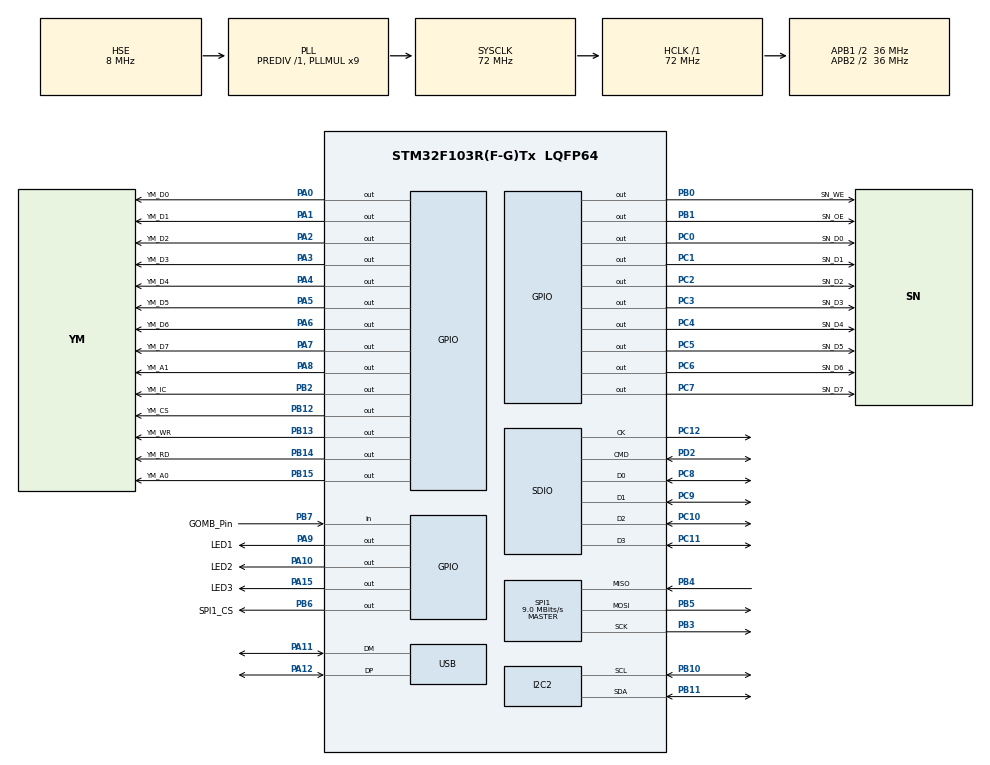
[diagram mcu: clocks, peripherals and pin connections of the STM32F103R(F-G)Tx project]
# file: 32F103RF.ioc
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FATFS._MAX_SS=4096
FATFS._USE_LFN=1
I2C2.I2C_Mode=I2C_Fast
Mcu.Family=STM32F1
Mcu.Name=STM32F103R(F-G)Tx
Mcu.Package=LQFP64
NVIC.PriorityGroup=NVIC_PRIORITYGROUP_4
NVIC.TIM6_IRQn=true\:0\:0\:false\:false\:true\:true\:true
NVIC.USB_LP_CAN1_RX0_IRQn=true\:0\:0\:false\:false\:true\:false\:true
PA0-WKUP.GPIO_Label=YM_D0
PA0-WKUP.Signal=GPIO_Output
PA1.GPIO_Label=YM_D1
PA1.Signal=GPIO_Output
PA10.GPIO_Label=LED2
PA10.Signal=GPIO_Output
PA11.Mode=Device
PA11.Signal=USB_DM
PA12.Mode=Device
PA12.Signal=USB_DP
PA13.Mode=Serial_Wire
PA13.Signal=SYS_JTMS-SWDIO
PA14.Mode=Serial_Wire
PA14.Signal=SYS_JTCK-SWCLK
PA15.GPIO_Label=LED3
PA15.Signal=GPIO_Output
PA2.GPIO_Label=YM_D2
PA2.Signal=GPIO_Output
PA3.GPIO_Label=YM_D3
PA3.Signal=GPIO_Output
PA4.GPIO_Label=YM_D4
PA4.Signal=GPIO_Output
PA5.GPIO_Label=YM_D5
PA5.PinState=GPIO_PIN_RESET
PA5.Signal=GPIO_Output
PA6.GPIO_Label=YM_D6
PA6.Signal=GPIO_Output
PA7.GPIO_Label=YM_D7
PA7.Signal=GPIO_Output
PA8.GPIO_Label=YM_A1
PA8.PinState=GPIO_PIN_RESET
PA8.Signal=GPIO_Output
PA9.GPIO_Label=LED1
PA9.Signal=GPIO_Output
PB0.GPIO_Label=SN_WE
PB0.PinState=GPIO_PIN_SET
PB0.Signal=GPIO_Output
PB1.GPIO_Label=SN_OE
PB1.PinState=GPIO_PIN_RESET
PB1.Signal=GPIO_Output
PB10.Mode=I2C
PB10.Signal=I2C2_SCL
PB11.Mode=I2C
PB11.Signal=I2C2_SDA
PB12.GPIO_Label=YM_CS
PB12.PinState=GPIO_PIN_SET
PB12.Signal=GPIO_Output
PB13.GPIO_Label=YM_WR
PB13.PinState=GPIO_PIN_SET
PB13.Signal=GPIO_Output
PB14.GPIO_Label=YM_RD
PB14.PinState=GPIO_PIN_SET
PB14.Signal=GPIO_Output
PB15.GPIO_Label=YM_A0
PB15.PinState=GPIO_PIN_SET
PB15.Signal=GPIO_Output
PB2.GPIO_Label=YM_IC
PB2.PinState=GPIO_PIN_SET
PB2.Signal=GPIO_Output
PB3.Mode=Full_Duplex_Master
PB3.Signal=SPI1_SCK
PB4.Mode=Full_Duplex_Master
PB4.Signal=SPI1_MISO
PB5.Mode=Full_Duplex_Master
PB5.Signal=SPI1_MOSI
PB6.GPIO_Label=SPI1_CS
PB6.PinState=GPIO_PIN_SET
PB6.Signal=GPIO_Output
PB7.GPIO_Label=GOMB_Pin
PB7.Signal=GPIO_Input
PC0.GPIO_Label=SN_D0
PC0.Signal=GPIO_Output
PC1.GPIO_Label=SN_D1
PC1.Signal=GPIO_Output
PC10.Mode=SD_4_bits_Wide_bus
PC10.Signal=SDIO_D2
PC11.Mode=SD_4_bits_Wide_bus
PC11.Signal=SDIO_D3
PC12.Mode=SD_4_bits_Wide_bus
PC12.Signal=SDIO_CK
PC2.GPIO_Label=SN_D2
PC2.Signal=GPIO_Output
PC3.GPIO_Label=SN_D3
PC3.Signal=GPIO_Output
PC4.GPIO_Label=SN_D4
PC4.Signal=GPIO_Output
PC5.GPIO_Label=SN_D5
PC5.Signal=GPIO_Output
PC6.GPIO_Label=SN_D6
PC6.Signal=GPIO_Output
PC7.GPIO_Label=SN_D7
PC7.Signal=GPIO_Output
PC8.Mode=SD_4_bits_Wide_bus
PC8.Signal=SDIO_D0
PC9.Mode=SD_4_bits_Wide_bus
PC9.Signal=SDIO_D1
PD0-OSC_IN.Mode=HSE-External-Oscillator
PD0-OSC_IN.Signal=RCC_OSC_IN
PD1-OSC_OUT.Mode=HSE-External-Oscillator
PD1-OSC_OUT.Signal=RCC_OSC_OUT
PD2.Mode=SD_4_bits_Wide_bus
PD2.Signal=SDIO_CMD
ProjectManager.HeapSize=0x200
ProjectManager.StackSize=0x400
ProjectManager.TargetToolchain=TrueSTUDIO
RCC.AHBFreq_Value=72000000
RCC.APB1CLKDivider=RCC_HCLK_DIV2
RCC.APB1Freq_Value=36000000
RCC.APB1TimFreq_Value=72000000
RCC.APB2CLKDivider=RCC_HCLK_DIV2
RCC.APB2Freq_Value=36000000
RCC.APB2TimFreq_Value=72000000
RCC.HCLKFreq_Value=72000000
RCC.PLLMUL=RCC_PLL_MUL9
RCC.SYSCLKFreq_VALUE=72000000
RCC.SYSCLKSource=RCC_SYSCLKSOURCE_PLLCLK
RCC.USBFreq_Value=48000000
RCC.USBPrescaler=RCC_USBCLKSOURCE_PLL_DIV1_5
SDIO.ClockDiv=4
SPI1.BaudRatePrescaler=SPI_BAUDRATEPRESCALER_4
SPI1.CalculateBaudRate=9.0 MBits/s
SPI1.Direction=SPI_DIRECTION_2LINES
SPI1.Mode=SPI_MODE_MASTER
SPI1.VirtualType=VM_MASTER
TIM6.Period=816
TIM6.Prescaler=1
TIM6.TIM_MasterOutputTrigger=TIM_TRGO_RESET
USB_DEVICE.APP_RX_DATA_SIZE=256
USB_DEVICE.APP_TX_DATA_SIZE=256
USB_DEVICE.CLASS_NAME_FS=CDC
USB_DEVICE.VirtualMode=Cdc
USB_DEVICE.VirtualModeFS=Cdc_FS
VP_FATFS_VS_SDIO.Mode=SDIO
VP_TIM6_VS_ClockSourceINT.Mode=Enable_Timer
VP_USB_DEVICE_VS_USB_DEVICE_CDC_FS.Mode=CDC_FS
board=custom

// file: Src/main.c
/* USER CODE BEGIN Header */
/**
  ******************************************************************************
  * STM VGM Player 2023-01-17
  *
  * Tóth Péter - don_peter@freemail.hu
  * DPTP System
  *
  * Microcontroller : 	STM32F103RFT6
  * Frequency : 		72MHz
  * Flash : 			768KB
  * RAM : 				96KB
  * Vendor : 			Generic
  *
  *                             www.neo-geo.hu
  *
  ******************************************************************************
  */
/* USER CODE END Header */

#include "main.h"
#include "fatfs.h"
#include "usb_device.h"

/* USER CODE BEGIN Includes */
#include "dwt_stm32_delay.h"
#include "w25qxx.h"
#include "usbd_cdc_if.h"
#include "ym2612.h"

//#include "fatfs_sd.h"

#include "fonts.h"
#include "ssd1306.h"

//#include "flash.h"
/* USER CODE END Includes */

/* USER CODE BEGIN PD */
#define BufferArraySize 64
//#define PCMJump
/* USER CODE END PD */

I2C_HandleTypeDef hi2c2;

SD_HandleTypeDef hsd;

SPI_HandleTypeDef hspi1;

TIM_HandleTypeDef htim6;

/* USER CODE BEGIN PV */
uint8_t BuffRX_a[BufferArraySize];
uint8_t BuffRX_b[BufferArraySize];
volatile uint32_t DataSize;
volatile uint16_t BufferI;
volatile uint16_t BufferSize;
volatile uint8_t bUffEr = 1;
volatile uint16_t PackCount=0;
volatile unsigned int waitSamples = 0;
volatile uint8_t SampleNext = 1;
volatile uint8_t PCMLoad;

FATFS FatFs;
FIL MyFile;      // file objects
BYTE buffer[512]; // file copy buffer
FRESULT res;         // FatFs function common result code
UINT br, bw;         // File R/W count
UINT bytes_written;
DIR dirs;
FILINFO finfo;
char path[16]={""};
//FRESULT fresult;

/* USER CODE END PV */

void SystemClock_Config(void);
static void MX_GPIO_Init(void);
static void MX_SPI1_Init(void);
static void MX_I2C2_Init(void);
static void MX_SDIO_SD_Init(void);
static void MX_TIM6_Init(void);
/* USER CODE BEGIN PFP */
struct VGMStreamHeader {
	// StreamInit 0x90
	uint8_t StreamID;	// Stream ID lekérése, nem kell ( 0x00 )
	uint8_t ChipType;	// Chip típusa, nem kell
	uint8_t PCMPort;	// Port	( 0x00 )
	uint8_t PCMCMD;		// Parancs mentése ( 0x2A )

	// StreamData 0x91
	uint8_t DataBankID;	// Data Bank ID (nincs tömörítve) ( 0x00 )
	uint8_t StepSize;	// Lépésméret, hány adatot hagyjon ki minden írás után (álltalában 1-et)
	uint8_t DataShift;	// Adat eltolás hozzáadva a start offset-hez

	// StreamFreq 0x92
	uint32_t Freq;		// Frekencia 4 byte

	// StreamStart 0x93
	uint32_t DataStartOffset;	// Data Start offset 4byte
	uint8_t LenghtMode;			// Length Mode
	uint32_t DataLength;		// Data Length 4 byte
	uint32_t PCMStartAdr;		// PCM adat kezdõ címe
};
volatile struct VGMStreamHeader VGMStream;
/* USER CODE END PFP */

/* USER CODE BEGIN 0 */
/********************************************************************************
 * - 2023-01-20
 * Timer6 407-es elõtöltéssel 22.67uS / megzsakítás szkóppal kimérve.
 * A 22.67uS idõ még mindig nem elégséges, bár ez lehet már csak optimalizálás
 * kérdése, de 23-24uS ideig tart egy PCM-et nem tartalmazó VGM adafolyam lejátszása.
 * Továbbá ebben a megszakítási idõben, legalább kétszeres a lejátszási sebesség, ezért
 * 22.67uS-rõl 45.34uS idõzítésre állítom, így a VGM zene a normális tempóban játsza le.
 * Ebben az új 816-os beállíátás mellet vagy is a 45.34uS megszakítássba viszonylag
 * stabil 46-47uS / megszakítással folyamatos PCM adat nélkül a lejátszás. Fõprogram
 * ebben az esetben 5-20mS közt elérhetõ.
 * Egy kisebb PCM-et tartalmazó fájl esetén 45-90uS-re nõt a megszakítások ideje
 * ez még ugyan memória olvasással mért adat.
 * Buffert alkalmazva kisebb PCM adat folyammal is viszonylag stabil 45-48uS alatt történik
 * a megszakítás kiszolgálása, ami majdnem teljesen bele fér az alap 45.34uS megszakításba.
 */
/* USER CODE END 0 */

int main(void)
{
  /* USER CODE BEGIN 1 */
	char CMDTX[1];

	uint16_t i = 0;
	uint8_t EraseBlock = 0;
	uint32_t DataSizePC = 0;
	uint16_t Maradek=0, Pack=0;
	uint8_t Upload;
	uint16_t temp = 0;
	PCMLoad = 0;
	uint8_t StrTemp[19] = {0};
	uint8_t Khz = 44;
	uint32_t FSize = 0;

	/*unsigned long pcmBufferPositionStart = 0;
	unsigned int PCMDataSize = 0;
	unsigned int wait = 0;
	unsigned char Sample = 0;
	unsigned char YM_address = 0;
	unsigned char YM_data = 0;

	const float sampleRate = 44100; //0.00002676
	const float WAIT60TH = 1000 / (sampleRate/735);
	const float WAIT50TH = 1000 / (sampleRate/882);
	float cachedWaitTime = 0;
	unsigned char Sample = 0;*/
  /* USER CODE END 1 */

  /* MCU Configuration--------------------------------------------------------*/

  /* Reset of all peripherals, Initializes the Flash interface and the Systick. */
  HAL_Init();

  /* Configure the system clock */
  SystemClock_Config();

  /* Initialize all configured peripherals */
  MX_GPIO_Init();
  MX_SPI1_Init();
  MX_USB_DEVICE_Init();
  MX_I2C2_Init();
  MX_SDIO_SD_Init();
  MX_TIM6_Init();
  MX_FATFS_Init();
  /* USER CODE BEGIN 2 */
  DWT_Delay_Init();
  SSD1306_Init();
  /* USER CODE END 2 */

  /* Infinite loop */
  /* USER CODE BEGIN WHILE */

  PSG_Silence();
  //MemErase();

#ifdef PCMJump
  MemCim.value = 63;
  PCMJumpSave();
#endif

	/*MemCim.value = 0;
	for(int t=0; t<100; ++t)
	{
		temp = memReadID();
		Sample = MemRead(MemCim);
		MemCim.value++;
	}*/

  /*for(;;)	// Lefutás ideje, szkóppal mérve: 45uS/2=22.5uS
  {
    HAL_GPIO_TogglePin(LED2_GPIO_Port, LED2_Pin);
    if(!(GOMB_Pin_GPIO_Port->IDR & GOMB_Pin_Pin))
    	  {
    		  i=0;
    		  while(!(GOMB_Pin_GPIO_Port->IDR & GOMB_Pin_Pin));
    		  HAL_RCC_DeInit();
    		  HAL_Delay(100);
    		  SystemClock_Config_128MHz();
    		  HAL_Delay(100);
    	  }
    //DWT_Delay_us(22);
  }*/
  	// Kezdõ képernyõ
  	SSD1306_GotoXY (0,0);
	SSD1306_Puts ("DPTP System - 2023 ", &Font_7x10, 1);
	SSD1306_GotoXY (0,9);
	SSD1306_Puts ("VGM Player v3.0 ", &Font_7x10, 1);
	SSD1306_GotoXY (0,20);
	SSD1306_Puts ("System Ready ", &Font_7x10, 1);
	SSD1306_UpdateScreen();
	HAL_Delay(2000);

	/*SSD1306_ScrollRight(0,7);
	HAL_Delay(3000);
	SSD1306_ScrollLeft(1,7);
	HAL_Delay(3000);
	SSD1306_Stopscroll();
	//SSD1306_Clear();*/

  /*MemCim.value = 64;
  if(MemRead(MemCim) == 0x52 || MemRead(MemCim) == 0x67)
  {
	  MemCim.value = 63;
	  HAL_TIM_Base_Start_IT(&htim6);
  }
  else
	  MemCim.value = 128;

  if(MemRead(MemCim) == 0x52 || MemRead(MemCim) == 0x67)
  {
  	  MemCim.value = 127;
  	  HAL_TIM_Base_Start_IT(&htim6);
    }*/
	// Listázó (file)
	unsigned char FCount = 0, FCount2 = 0;
	BYTE FileName[200][32] = {0};
	BYTE FileSortName[200][12] = {0};
	char FnameCharCount = 0;

	#if _USE_LFN
		static char lfn[_MAX_LFN + 1];
		finfo.lfname = lfn;
		finfo.lfsize = sizeof lfn;
	#endif
	if (f_mount(&FatFs,"/",(BYTE)1) == FR_OK)
	{
	   //f_mount(&FatFs[0],"/",(BYTE)1);
	   if (f_opendir(&dirs, path) == FR_OK)
	   {
		 while (f_readdir(&dirs, &finfo) == FR_OK)
		 {
		   if (finfo.fattrib & AM_ARC)
		   {
			 if(!finfo.fname[0]) break;
			 FnameCharCount = strlen(finfo.lfname) > 32 ? 32 : strlen(finfo.lfname);
			 //finfo.fname
			 if(FnameCharCount>1)
			 {
				 memcpy(FileName[FCount++], finfo.lfname, FnameCharCount+1);
				 memcpy(FileSortName[FCount2++], finfo.fname, strlen(finfo.fname)+1);
			 }
			 else
			 {
				 memcpy(FileName[FCount++], finfo.fname, strlen(finfo.fname)+1);
				 memcpy(FileSortName[FCount2++], finfo.fname, strlen(finfo.fname)+1);
			 }	//finfo.lfname
			 // Fájl méretének megadása (3byte)
			 FileName[FCount-1][29] = finfo.fsize>>16;
			 FileName[FCount-1][30] = finfo.fsize>>8;
			 FileName[FCount-1][31] = finfo.fsize;
			 f_close(&MyFile);
		   }
		 }
	   }
	   FCount=0;
	   //FCount2=0;
	}
	else
	{
		// Hiba
		HAL_GPIO_WritePin(LED3_GPIO_Port, LED3_Pin, SET);
	}

	// Timer2 - 44.1KHz
	// Ellenõrizük, hogy adott VGM fájl hol kezdõdik, 0x40 vagy 0x80-nál
	MemCim.value = 8;
	VGMVersion = MemRead(MemCim);
	MemCim.value++;
	VGMVersion |= ((uint16_t)MemRead(MemCim))<<8;
	if(VGMVersion==0x151)
	{
	  MemCim.value = 127;
	  HAL_TIM_Base_Start_IT(&htim6);
	}
	else
	{
	  MemCim.value = 63;
	  HAL_TIM_Base_Start_IT(&htim6);
	}

  while (1)	// 1uS
  {
	  // Gomb kezelése
	  if(!(GOMB_Pin_GPIO_Port->IDR & GOMB_Pin_Pin))
	  {
		  HAL_TIM_Base_Stop_IT(&htim6);
		  i=0;
		  while(!(GOMB_Pin_GPIO_Port->IDR & GOMB_Pin_Pin))
		  {
			  SSD1306_GotoXY (0,0);
			  SSD1306_Puts ("                   ", &Font_7x10, 1);
			  SSD1306_GotoXY (0,0);
			  if(i<=10)
			  {
				  SSD1306_Puts ("File step..", &Font_7x10, 1);
			  }
			  else if(i>10 && i<=30)
			  {
				  sprintf(StrTemp, "Step KHz: %02iKHz", Khz);
				  SSD1306_Puts (StrTemp, &Font_7x10, 1);
			  }
			  else if(i>30 && i<=40)
			  {
				  sprintf(StrTemp, "Step freq. %03iMHz", (uint32_t)HAL_RCC_GetHCLKFreq()/1000000);
				  SSD1306_Puts (StrTemp, &Font_7x10, 1);
			  }
			  else if(i>40)
			  {
				  SSD1306_Puts ("File upload!", &Font_7x10, 1);
			  }
			  SSD1306_UpdateScreen();
			  HAL_Delay(100);
			  i++;

			  if(i>80) i=0;
		  }
			SSD1306_GotoXY (0,0);
			SSD1306_Puts ("VGM Player v3.0 ", &Font_7x10, 1);
			SSD1306_GotoXY (0,20);
			SSD1306_Puts ("System Ready ", &Font_7x10, 1);
			SSD1306_UpdateScreen();
		  HAL_GPIO_WritePin(LED3_GPIO_Port, LED3_Pin, RESET);

		  if(i>30 && i<=40)	// 3-4s
		  {
			if((uint32_t)HAL_RCC_GetHCLKFreq() < 128000000)
			{
				HAL_RCC_DeInit();
				HAL_Delay(100);
				SystemClock_Config_128MHz();
			}
			else
			{
				HAL_RCC_DeInit();
				HAL_Delay(100);
				SystemClock_Config();
			}
			HAL_Delay(100);
		  }
		  else if(i>10 && i<=30) // Ha 2 és 3 másodpercet nyomtuk
		  {
			if((uint32_t)HAL_RCC_GetHCLKFreq() > 72000000)
			{
				if(htim6.Init.Period!=666)
				{
					htim6.Init.Period = 666;	// 48KHz
					HAL_GPIO_WritePin(LED3_GPIO_Port, LED3_Pin, SET);
					Khz = 48;
				}
				else
				{
					htim6.Init.Period = 725; // Alapértelmezett 44.1KHz
					HAL_GPIO_WritePin(LED3_GPIO_Port, LED3_Pin, RESET);
					Khz = 44;
				}
			}
			else
			{
				if(htim6.Init.Period!=749)
				{
					htim6.Init.Period = 749;	// 48KHz
					HAL_GPIO_WritePin(LED3_GPIO_Port, LED3_Pin, SET);
					Khz = 48;
				}
				else
				{
					htim6.Init.Period = 816; // Alapértelmezett 44.1KHz
					HAL_GPIO_WritePin(LED3_GPIO_Port, LED3_Pin, RESET);
					Khz = 44;
				}
			}

			HAL_TIM_Base_Init(&htim6);
		  }

		  if(i<=10)
		  {
				//SSD1306_Clear();
			  if(FCount>FCount2) FCount = 0;
				SSD1306_GotoXY (0,9);
				SSD1306_Puts ("                   ", &Font_7x10, 1);
				SSD1306_GotoXY (0,9);
				SSD1306_Puts (FileName[FCount++], &Font_7x10, 1);
				//SSD1306_ScrollRight(1,1);
				SSD1306_UpdateScreen();
			}
		  else if(i>10 && i<=40) // 3-4s
		  {
			//SSD1306_Clear();
			SSD1306_GotoXY (0,0);
			sprintf(StrTemp, "CP: %03iMHz F: %02iKHz", (uint32_t)HAL_RCC_GetHCLKFreq()/1000000, Khz);
			SSD1306_Puts (StrTemp, &Font_7x10, 1);
			SSD1306_UpdateScreen();
		  }
		  else if(i>=40)	// -5s
		  {
			  PSG_Silence();
			  // MD program beírása ROM-ba
				f_mount(&FatFs,"/",(BYTE)1);
				res = f_open(&MyFile, FileName[FCount-1], FA_OPEN_EXISTING | FA_READ);
				memset(buffer, '\0', sizeof(buffer));
				FSize = MyFile.fsize;
				if(res==FR_OK){
					// Flash törlése
					EraseBlock = (FSize/0xFFFF)>0 ? ((FSize/0xFFFF)+1) : 1;
					MemCim.value = 0;
					for(i=0; i<=EraseBlock; ++i)
					{
						MemBlockErase64Kb(MemCim);
						MemCim.value += 0xFFFF;
					}
					MemCim.value = 0;
				}
				do{
				  res = f_read(&MyFile, buffer, sizeof(buffer), &br);
				  for(i=0; i<(br/BufferArraySize); i++){
					//FSMC_NOR_WriteHalfWord(SramAddr, buffer[i]);
					  //memcpy(BuffRX_a, buffer[i*BufferArraySize], BufferArraySize);
					  for(int s=0; s<BufferArraySize; s++) BuffRX_a[s] = buffer[(i*BufferArraySize)+s];
					  memWriteW25Qxx(MemCim, BuffRX_a);
					  memset(BuffRX_a, '\0', sizeof(BuffRX_a));
					  MemCim.value+=64;
				  }
				  FSize -= br;

					SSD1306_GotoXY (0,20);
					SSD1306_Puts ("                   ", &Font_7x10, 1);
					SSD1306_GotoXY (0,20);
					sprintf(StrTemp, "FSize:%06ibyte", FSize);
					SSD1306_Puts (StrTemp, &Font_7x10, 1);
					SSD1306_UpdateScreen();

				  HAL_GPIO_TogglePin(LED1_GPIO_Port, LED1_Pin);
				}while(FSize && res == FR_OK);
				f_close(&MyFile);
				HAL_GPIO_WritePin(LED1_GPIO_Port, LED1_Pin, RESET);
				MemCim.value = 8;
				VGMVersion = MemRead(MemCim);
				MemCim.value++;
				VGMVersion |= ((uint16_t)MemRead(MemCim))<<8;
				if(VGMVersion==0x151) MemCim.value = 127;
				else MemCim.value = 63;

				SSD1306_GotoXY (0,20);
				SSD1306_Puts ("                   ", &Font_7x10, 1);
				SSD1306_GotoXY (0,20);
				SSD1306_Puts ("Upload success!", &Font_7x10, 1);
				SSD1306_UpdateScreen();
		  }

		  HAL_TIM_Base_Start_IT(&htim6);
	  }

	  if(BuffRX_a[0] == 'd') {
		HAL_TIM_Base_Stop_IT(&htim6);
		BuffRX_a[0] = '\0';

		PSG_Silence();

		DataSize = 0;
		BufferSize = 0;
		BufferI=0;

		HAL_Delay(1);
		CMDTX[0] = 0x10;
		CDC_Transmit_FS((uint8_t *)CMDTX, 1);	// Kiküldjük az OK visszajelzést az upload kódot

		while(DataSize<3);	// Amig nem jön meg a 3 adat
		// PC-s adat hossza
		DataSizePC = BuffRX_a[2];
		DataSizePC = DataSizePC<<8 | BuffRX_a[1];
		DataSizePC = DataSizePC<<8 | BuffRX_a[0];
		Maradek = DataSizePC%BufferArraySize;	// Hossz vége, ha nem pontosan egyelõ BufferArraySize
		Pack = DataSizePC/BufferArraySize;		// Adat csomagok száma

		memset(BuffRX_a, '\0', sizeof(BuffRX_a));	//Törõljük a buffer tartalmát
		memset(BuffRX_b, '\0', sizeof(BuffRX_b));	//Törõljük a buffer tartalmát
		Upload=1;
		bUffEr=1;
		DataSize = 0;
		BufferSize = 0;
		BufferI=0;
		PackCount=0;
		MemCim.value = 0;

		EraseBlock = (DataSizePC/0xFFFF)>0 ? ((DataSizePC/0xFFFF)+1) : 1;

		//CMDTX[0] = EraseBlock;
		//CDC_Transmit_FS((uint8_t *)CMDTX, 1;

		for(i=0; i<=EraseBlock; ++i)
		{
			MemBlockErase64Kb(MemCim);
			MemCim.value += 0xFFFF;
		}

		MemCim.value = 0;

		CMDTX[0] = 0xF0;
		CDC_Transmit_FS((uint8_t *)CMDTX, 1);

		DataSize = 0;

		while(Upload){

			if(BufferSize==BufferArraySize || (PackCount == Pack && Maradek == BufferSize)){		// Ha minden rendben van

				if((PackCount == Pack && Maradek == BufferSize))
				{
					temp = Maradek;
					DataSize -= BufferArraySize;
					//DataSize += temp;
				}
				else
				{
					temp = BufferArraySize;
				}
				// Beírjuk az új adatokat a memóriába

				////// Két buffer töltésének írányítása, szervezése /////
				bUffEr = !bUffEr;
				BufferSize=0;
				BufferI=0;

				if(PackCount<=Pack){
					CMDTX[0] = 0x02;
					CDC_Transmit_FS((uint8_t *)CMDTX, 1); //strlen(CMDTX)-1);	// kiküldjük a tovább kódot
				}
				PackCount++;

				if(!bUffEr){
					memWriteW25Qxx(MemCim, BuffRX_a);
				}else{
					memWriteW25Qxx(MemCim, BuffRX_b);
				}

				// Adat kiírása AddresCounter,
				MemCim.value += temp;
				//DataSizePC == DataSize &&
				if(DataSizePC == DataSize && PackCount >= Pack)
				{
					Upload = 0;
					bUffEr = 1; 				// Alapértelmezett buffer használata
					BufferSize=0;
					BufferI=0;
					CMDTX[0] = 0x02;
					CDC_Transmit_FS((uint8_t *)CMDTX, 1);//strlen(CMDTX)-1);	// kiküldjuk a tovább kódot

					MemCim.value = 0;
					memset(BuffRX_a, '\0', sizeof(BuffRX_a));	//Törõljük a buffer tartalmát
					memset(BuffRX_b, '\0', sizeof(BuffRX_b));	//Törõljük a buffer tartalmát
				}// Kilépünk írásmódból
				HAL_GPIO_TogglePin(LED2_GPIO_Port, LED2_Pin);
			}

		}//while
		// Ellenõrizük, hogy adott VGM fájl hol kezdõdik, 0x40 vagy 0x80-nál
		MemCim.value = 8;
		VGMVersion = MemRead(MemCim);
		MemCim.value++;
		VGMVersion |= ((uint16_t)MemRead(MemCim))<<8;
		if(VGMVersion==0x151) MemCim.value = 127;
		else MemCim.value = 63;

#ifdef PCMJump
		// Ugró tábla
		memset(JumpTableE0, '\0', sizeof(JumpTableE0));
		PCMJumpSave();
		MemCim.value = 63;
#endif

		//Reset();
		//EepromWrite(0x00);
		PCMLoad = 0;
		HAL_GPIO_WritePin(LED2_GPIO_Port, LED2_Pin, RESET);
		i=0;

		HAL_TIM_Base_Start_IT(&htim6);
	}

	  // 1uS idõ alatt ér ide a program
	  HAL_GPIO_TogglePin(LED1_GPIO_Port, LED1_Pin);
	  HAL_Delay(100);

    /* USER CODE END WHILE */

  }
}

void SystemClock_Config(void)
{
  RCC_OscInitTypeDef RCC_OscInitStruct = {0};
  RCC_ClkInitTypeDef RCC_ClkInitStruct = {0};
  RCC_PeriphCLKInitTypeDef PeriphClkInit = {0};

  /** Initializes the CPU, AHB and APB busses clocks
  */
  RCC_OscInitStruct.OscillatorType = RCC_OSCILLATORTYPE_HSE;
  RCC_OscInitStruct.HSEState = RCC_HSE_ON;
  RCC_OscInitStruct.HSEPredivValue = RCC_HSE_PREDIV_DIV1;
  RCC_OscInitStruct.HSIState = RCC_HSI_ON;
  RCC_OscInitStruct.PLL.PLLState = RCC_PLL_ON;
  RCC_OscInitStruct.PLL.PLLSource = RCC_PLLSOURCE_HSE;
  RCC_OscInitStruct.PLL.PLLMUL = RCC_PLL_MUL9;
  if (HAL_RCC_OscConfig(&RCC_OscInitStruct) != HAL_OK)
  {
    Error_Handler();
  }
  /** Initializes the CPU, AHB and APB busses clocks
  */
  RCC_ClkInitStruct.ClockType = RCC_CLOCKTYPE_HCLK|RCC_CLOCKTYPE_SYSCLK
                              |RCC_CLOCKTYPE_PCLK1|RCC_CLOCKTYPE_PCLK2;
  RCC_ClkInitStruct.SYSCLKSource = RCC_SYSCLKSOURCE_PLLCLK;
  RCC_ClkInitStruct.AHBCLKDivider = RCC_SYSCLK_DIV1;
  RCC_ClkInitStruct.APB1CLKDivider = RCC_HCLK_DIV2;
  RCC_ClkInitStruct.APB2CLKDivider = RCC_HCLK_DIV2;

  if (HAL_RCC_ClockConfig(&RCC_ClkInitStruct, FLASH_LATENCY_2) != HAL_OK)
  {
    Error_Handler();
  }
  PeriphClkInit.PeriphClockSelection = RCC_PERIPHCLK_USB;
  PeriphClkInit.UsbClockSelection = RCC_USBCLKSOURCE_PLL_DIV1_5;
  if (HAL_RCCEx_PeriphCLKConfig(&PeriphClkInit) != HAL_OK)
  {
    Error_Handler();
  }
}

static void MX_I2C2_Init(void)
{

  hi2c2.Instance = I2C2;
  hi2c2.Init.ClockSpeed = 400000;
  hi2c2.Init.DutyCycle = I2C_DUTYCYCLE_2;
  hi2c2.Init.OwnAddress1 = 0;
  hi2c2.Init.AddressingMode = I2C_ADDRESSINGMODE_7BIT;
  hi2c2.Init.DualAddressMode = I2C_DUALADDRESS_DISABLE;
  hi2c2.Init.OwnAddress2 = 0;
  hi2c2.Init.GeneralCallMode = I2C_GENERALCALL_DISABLE;
  hi2c2.Init.NoStretchMode = I2C_NOSTRETCH_DISABLE;
  if (HAL_I2C_Init(&hi2c2) != HAL_OK)
  {
    Error_Handler();
  }

}

static void MX_SDIO_SD_Init(void)
{

  hsd.Instance = SDIO;
  hsd.Init.ClockEdge = SDIO_CLOCK_EDGE_RISING;
  hsd.Init.ClockBypass = SDIO_CLOCK_BYPASS_DISABLE;
  hsd.Init.ClockPowerSave = SDIO_CLOCK_POWER_SAVE_DISABLE;
  hsd.Init.BusWide = SDIO_BUS_WIDE_1B;
  hsd.Init.HardwareFlowControl = SDIO_HARDWARE_FLOW_CONTROL_DISABLE;
  hsd.Init.ClockDiv = 4;
  /* USER CODE BEGIN SDIO_Init 2 */
  // Ha az SD kezelése FR_DISK_ERROR-ra futna, akkor a hsd.Init.ClockDiv-nt növelni kell.
  /* USER CODE END SDIO_Init 2 */

}

static void MX_SPI1_Init(void)
{

  /* SPI1 parameter configuration*/
  hspi1.Instance = SPI1;
  hspi1.Init.Mode = SPI_MODE_MASTER;
  hspi1.Init.Direction = SPI_DIRECTION_2LINES;
  hspi1.Init.DataSize = SPI_DATASIZE_8BIT;
  hspi1.Init.CLKPolarity = SPI_POLARITY_LOW;
  hspi1.Init.CLKPhase = SPI_PHASE_1EDGE;
  hspi1.Init.NSS = SPI_NSS_SOFT;
  hspi1.Init.BaudRatePrescaler = SPI_BAUDRATEPRESCALER_4;
  hspi1.Init.FirstBit = SPI_FIRSTBIT_MSB;
  hspi1.Init.TIMode = SPI_TIMODE_DISABLE;
  hspi1.Init.CRCCalculation = SPI_CRCCALCULATION_DISABLE;
  hspi1.Init.CRCPolynomial = 10;
  if (HAL_SPI_Init(&hspi1) != HAL_OK)
  {
    Error_Handler();
  }

}

static void MX_TIM6_Init(void)
{

  TIM_MasterConfigTypeDef sMasterConfig = {0};

  /* USER CODE BEGIN TIM6_Init 1 */
  // 72M / Pre / Post (Ez kell 0,0000226)
  // ((((72000000/2) / (1 / (1 / 44100)) + 0,5) - 1) = 815
  // ((((72000000/2) / (1 / (1 / 48000)) + 0,5) - 1) = 749
  // ((((64000000/2) / (1 / (1 / 44100)) + 0,5) - 1) = 725	// Ha 125MHz-en ját az MCU, akkor sajnos a ABP2 64MHz-re csökken
  // ((((64000000/2) / (1 / (1 / 48000)) + 0,5) - 1) = 666
  /* USER CODE END TIM6_Init 1 */
  htim6.Instance = TIM6;
  htim6.Init.Prescaler = 1;
  htim6.Init.CounterMode = TIM_COUNTERMODE_UP;
  htim6.Init.Period = 816;
  htim6.Init.AutoReloadPreload = TIM_AUTORELOAD_PRELOAD_DISABLE;
  if (HAL_TIM_Base_Init(&htim6) != HAL_OK)
  {
    Error_Handler();
  }
  sMasterConfig.MasterOutputTrigger = TIM_TRGO_RESET;
  sMasterConfig.MasterSlaveMode = TIM_MASTERSLAVEMODE_DISABLE;
  if (HAL_TIMEx_MasterConfigSynchronization(&htim6, &sMasterConfig) != HAL_OK)
  {
    Error_Handler();
  }

}

static void MX_GPIO_Init(void)
{
  GPIO_InitTypeDef GPIO_InitStruct = {0};

  /* GPIO Ports Clock Enable */
  __HAL_RCC_GPIOD_CLK_ENABLE();
  __HAL_RCC_GPIOC_CLK_ENABLE();
  __HAL_RCC_GPIOA_CLK_ENABLE();
  __HAL_RCC_GPIOB_CLK_ENABLE();

  /*Configure GPIO pin Output Level */
  HAL_GPIO_WritePin(GPIOC, SN_D0_Pin|SN_D1_Pin|SN_D2_Pin|SN_D3_Pin
                          |SN_D4_Pin|SN_D5_Pin|SN_D6_Pin|SN_D7_Pin, GPIO_PIN_RESET);

  /*Configure GPIO pin Output Level */
  HAL_GPIO_WritePin(GPIOA, YM_D0_Pin|YM_D1_Pin|YM_D2_Pin|YM_D3_Pin
                          |YM_D4_Pin|YM_D5_Pin|YM_D6_Pin|YM_D7_Pin
                          |YM_A1_Pin|LED1_Pin|LED2_Pin|LED3_Pin, GPIO_PIN_RESET);

  /*Configure GPIO pin Output Level */
  HAL_GPIO_WritePin(GPIOB, SN_WE_Pin|YM_IC_Pin|YM_CS_Pin|YM_WR_Pin
                          |YM_RD_Pin|YM_A0_Pin|SPI1_CS_Pin, GPIO_PIN_SET);

  /*Configure GPIO pin Output Level */
  HAL_GPIO_WritePin(SN_OE_GPIO_Port, SN_OE_Pin, GPIO_PIN_RESET);

  /*Configure GPIO pins : SN_D0_Pin SN_D1_Pin SN_D2_Pin SN_D3_Pin
                           SN_D4_Pin SN_D5_Pin SN_D6_Pin SN_D7_Pin */
  GPIO_InitStruct.Pin = SN_D0_Pin|SN_D1_Pin|SN_D2_Pin|SN_D3_Pin
                          |SN_D4_Pin|SN_D5_Pin|SN_D6_Pin|SN_D7_Pin;
  GPIO_InitStruct.Mode = GPIO_MODE_OUTPUT_PP;
  GPIO_InitStruct.Pull = GPIO_NOPULL;
  GPIO_InitStruct.Speed = GPIO_SPEED_FREQ_LOW;
  HAL_GPIO_Init(GPIOC, &GPIO_InitStruct);

  /*Configure GPIO pins : YM_D0_Pin YM_D1_Pin YM_D2_Pin YM_D3_Pin
                           YM_D4_Pin YM_D5_Pin YM_D6_Pin YM_D7_Pin
                           YM_A1_Pin LED1_Pin LED2_Pin LED3_Pin */
  GPIO_InitStruct.Pin = YM_D0_Pin|YM_D1_Pin|YM_D2_Pin|YM_D3_Pin
                          |YM_D4_Pin|YM_D5_Pin|YM_D6_Pin|YM_D7_Pin
                          |YM_A1_Pin|LED1_Pin|LED2_Pin|LED3_Pin;
  GPIO_InitStruct.Mode = GPIO_MODE_OUTPUT_PP;
  GPIO_InitStruct.Pull = GPIO_NOPULL;
  GPIO_InitStruct.Speed = GPIO_SPEED_FREQ_LOW;
  HAL_GPIO_Init(GPIOA, &GPIO_InitStruct);

  /*Configure GPIO pins : SN_WE_Pin SN_OE_Pin YM_IC_Pin YM_CS_Pin
                           YM_WR_Pin YM_RD_Pin YM_A0_Pin SPI1_CS_Pin */
  GPIO_InitStruct.Pin = SN_WE_Pin|SN_OE_Pin|YM_IC_Pin|YM_CS_Pin
                          |YM_WR_Pin|YM_RD_Pin|YM_A0_Pin|SPI1_CS_Pin;
  GPIO_InitStruct.Mode = GPIO_MODE_OUTPUT_PP;
  GPIO_InitStruct.Pull = GPIO_NOPULL;
  GPIO_InitStruct.Speed = GPIO_SPEED_FREQ_LOW;
  HAL_GPIO_Init(GPIOB, &GPIO_InitStruct);

  /*Configure GPIO pin : GOMB_Pin_Pin */
  GPIO_InitStruct.Pin = GOMB_Pin_Pin;
  GPIO_InitStruct.Mode = GPIO_MODE_INPUT;
  GPIO_InitStruct.Pull = GPIO_NOPULL;
  HAL_GPIO_Init(GOMB_Pin_GPIO_Port, &GPIO_InitStruct);

}

/* USER CODE BEGIN 4 */
// ((((72000000/2) / (1 / (1 / 44100)) + 0,5) - 1)
void HAL_TIM_PeriodElapsedCallback(TIM_HandleTypeDef *htim)
{
	if(htim->Instance == TIM6)	// Ha érkezik timer megszakítás
	{
		if(waitSamples>0)
			waitSamples--;

		if(waitSamples==0 && SampleNext == 1)
		{
			SampleNext=0;
			MemCim.value++;

			//HAL_TIM_Base_Stop_IT(&htim6);
			//waitSamples = WaveSample();
			waitSamples = WaveSampleIf();
			//HAL_TIM_Base_Start_IT(&htim6);

			SampleNext=1;
		}
		HAL_GPIO_TogglePin(LED2_GPIO_Port, LED2_Pin);
	}
}

// USB not working
void SystemClock_Config_128MHz(void)
{
	RCC_OscInitTypeDef RCC_OscInitStruct = {0};
	RCC_ClkInitTypeDef RCC_ClkInitStruct = {0};
	RCC_PeriphCLKInitTypeDef PeriphClkInit = {0};

	/** Initializes the CPU, AHB and APB busses clocks
	*/
	RCC_OscInitStruct.OscillatorType = RCC_OSCILLATORTYPE_HSE;
	RCC_OscInitStruct.HSEState = RCC_HSE_ON;
	RCC_OscInitStruct.HSEPredivValue = RCC_HSE_PREDIV_DIV1;
	RCC_OscInitStruct.HSIState = RCC_HSI_ON;
	RCC_OscInitStruct.PLL.PLLState = RCC_PLL_ON;
	RCC_OscInitStruct.PLL.PLLSource = RCC_PLLSOURCE_HSE;
	RCC_OscInitStruct.PLL.PLLMUL = RCC_PLL_MUL16;
	if (HAL_RCC_OscConfig(&RCC_OscInitStruct) != HAL_OK)
	{
		Error_Handler();
	}
	/** Initializes the CPU, AHB and APB busses clocks
	*/
	RCC_ClkInitStruct.ClockType = RCC_CLOCKTYPE_HCLK|RCC_CLOCKTYPE_SYSCLK
								|RCC_CLOCKTYPE_PCLK1|RCC_CLOCKTYPE_PCLK2;
	RCC_ClkInitStruct.SYSCLKSource = RCC_SYSCLKSOURCE_PLLCLK;
	RCC_ClkInitStruct.AHBCLKDivider = RCC_SYSCLK_DIV1;
	RCC_ClkInitStruct.APB1CLKDivider = RCC_HCLK_DIV4;
	RCC_ClkInitStruct.APB2CLKDivider = RCC_HCLK_DIV2;

	if (HAL_RCC_ClockConfig(&RCC_ClkInitStruct, FLASH_LATENCY_2) != HAL_OK)
	{
		Error_Handler();
	}
	PeriphClkInit.PeriphClockSelection = RCC_PERIPHCLK_USB;
	PeriphClkInit.UsbClockSelection = RCC_USBCLKSOURCE_PLL_DIV1_5;
	if (HAL_RCCEx_PeriphCLKConfig(&PeriphClkInit) != HAL_OK)
	{
		Error_Handler();
	}
}

void SystemClock_Config_Normal(void)
{
	RCC_OscInitTypeDef RCC_OscInitStruct = {0};
	RCC_ClkInitTypeDef RCC_ClkInitStruct = {0};
	RCC_PeriphCLKInitTypeDef PeriphClkInit = {0};

	//Initializes the CPU, AHB and APB busses clocks

	RCC_OscInitStruct.OscillatorType = RCC_OSCILLATORTYPE_HSE;
	RCC_OscInitStruct.HSEState = RCC_HSE_ON;
	RCC_OscInitStruct.HSEPredivValue = RCC_HSE_PREDIV_DIV1;
	RCC_OscInitStruct.HSIState = RCC_HSI_ON;
	RCC_OscInitStruct.PLL.PLLState = RCC_PLL_ON;
	RCC_OscInitStruct.PLL.PLLSource = RCC_PLLSOURCE_HSE;
	RCC_OscInitStruct.PLL.PLLMUL = RCC_PLL_MUL9;
	if (HAL_RCC_OscConfig(&RCC_OscInitStruct) != HAL_OK)
	{
		Error_Handler();
	}
	//Initializes the CPU, AHB and APB busses clocks

	RCC_ClkInitStruct.ClockType = RCC_CLOCKTYPE_HCLK|RCC_CLOCKTYPE_SYSCLK
							   |RCC_CLOCKTYPE_PCLK1|RCC_CLOCKTYPE_PCLK2;
	RCC_ClkInitStruct.SYSCLKSource = RCC_SYSCLKSOURCE_PLLCLK;
	RCC_ClkInitStruct.AHBCLKDivider = RCC_SYSCLK_DIV1;
	RCC_ClkInitStruct.APB1CLKDivider = RCC_HCLK_DIV2;
	RCC_ClkInitStruct.APB2CLKDivider = RCC_HCLK_DIV2;

	if (HAL_RCC_ClockConfig(&RCC_ClkInitStruct, FLASH_LATENCY_2) != HAL_OK)
	{
		Error_Handler();
	}
	PeriphClkInit.PeriphClockSelection = RCC_PERIPHCLK_USB;
	PeriphClkInit.UsbClockSelection = RCC_USBCLKSOURCE_PLL_DIV1_5;
	if (HAL_RCCEx_PeriphCLKConfig(&PeriphClkInit) != HAL_OK)
	{
		Error_Handler();
	}
}

/* USER CODE END 4 */

void Error_Handler(void)
{
}

/************************ (C) COPYRIGHT STMicroelectronics *****END OF FILE****/
